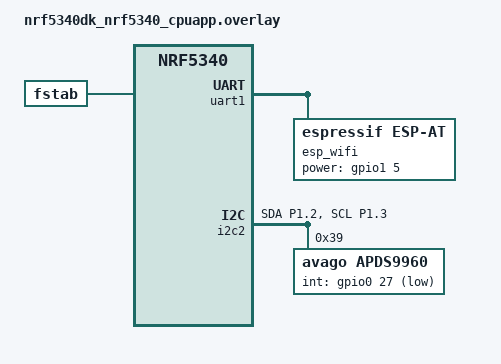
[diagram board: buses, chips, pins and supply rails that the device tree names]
/ {
	chosen {
		nordic,pm-ext-flash = &mx25r64;
	};

	fstab {
		compatible = "zephyr,fstab";
		lfs1: lfs1 {
			compatible = "zephyr,fstab,littlefs";
			mount-point = "/lfs";
			partition = <&user_data_partition>;
			automount;
			read-size = <16>;
			prog-size = <16>;
			cache-size = <64>;
			lookahead-size = <32>;
			block-cycles = <512>;
		};
	};
};

/* Delete existing definitions so we they can be re-defined. */
/delete-node/ &slot0_partition;
/delete-node/ &slot0_ns_partition;
/delete-node/ &slot1_partition;
/delete-node/ &slot1_ns_partition;

&flash0 {
	partitions {
		compatible = "fixed-partitions";
		#address-cells = <1>;
		#size-cells = <1>;

		boot_partition: partition@0 {
			label = "mcuboot";
			reg = <0x00000000 0x00010000>;
			read-only;
		};

		slot0_partition: partition@10000 {
			label = "image-0";
			reg = <0x00010000 0xA0000>;
		};

		slot1_partition: partition@B0000 {
			label = "image-1";
			reg = <0x000B0000 0xA0000>;
		};
	};
};


/* Redefine partition map */
&mx25r64 {
	partitions {
		compatible = "fixed-partitions";
		#address-cells = <1>;
		#size-cells = <1>;
		user_data_partition: partition@0 {
			label = "user-data";
			reg = <0x0 DT_SIZE_M(8)>;
		};
	};
};


/* ESP32 ST Wi-Fi / BLE Adapter */
&uart1_default {
	cts-rts {
		psels = <NRF_PSEL(UART_CTS, 1, 6)>,
				<NRF_PSEL(UART_RTS, 1, 4)>;
	};
};

&uart1_sleep {
	cts-rts {
		psels = <NRF_PSEL(UART_CTS, 1, 6)>,
				<NRF_PSEL(UART_RTS, 1, 4)>;
		low-power-enable;
	};
};

&uart1 {
	status = "okay";
	hw-flow-control;

	esp_wifi: esp-wifi {
		compatible = "espressif,esp-at";
		power-gpios = <&gpio1 5 (GPIO_ACTIVE_HIGH | GPIO_OPEN_DRAIN)>;
		status = "okay";
	};
};

&pinctrl {
	i2c2_default: i2c2_default {
		group1 {
			psels = <NRF_PSEL(TWIM_SDA, 1, 2)>,
				<NRF_PSEL(TWIM_SCL, 1, 3)>;
		};
	};
};

&i2c2 {
	status = "okay";
	pinctrl-0 = <&i2c2_default>;
	pinctrl-names = "default";

	apds9960@39 {
		compatible = "avago,apds9960";
		reg = <0x39>;
		int-gpios = <&gpio0 27 (GPIO_ACTIVE_LOW | GPIO_PULL_UP)>;
	};
};

&i2c1 {
	status = "disabled";
};
